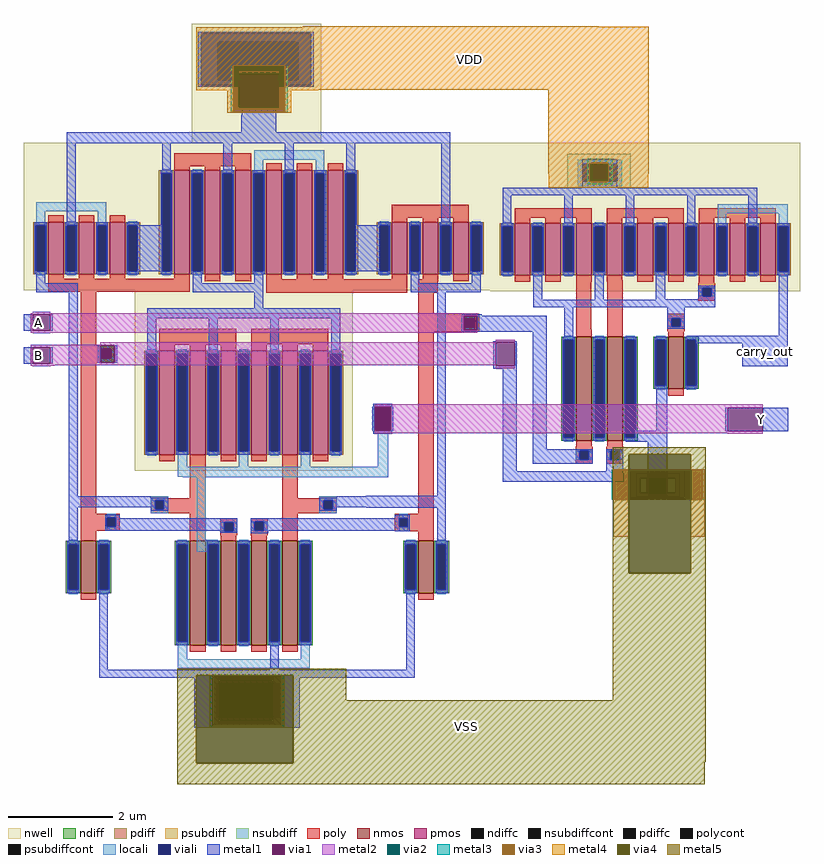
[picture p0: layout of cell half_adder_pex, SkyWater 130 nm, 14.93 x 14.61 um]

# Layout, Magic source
magic
tech sky130B
magscale 1 2
<< nwell >>
rect -1146 1370 -649 1827
rect -1792 1124 1192 1370
rect -1792 803 1193 1124
rect -1365 110 -527 803
rect 1 800 1193 803
<< nmos >>
rect 332 225 392 625
rect 450 225 510 625
rect 685 425 745 625
rect -1573 -360 -1513 -160
rect -1153 -560 -1093 -160
rect -1035 -560 -975 -160
rect -917 -560 -857 -160
rect -799 -560 -739 -160
rect -275 -360 -215 -160
<< pmos >>
rect -1698 865 -1638 1065
rect -1580 865 -1520 1065
rect -1462 865 -1402 1065
rect -1214 865 -1154 1265
rect -1096 865 -1036 1265
rect -978 865 -918 1265
rect -860 865 -800 1265
rect -742 865 -682 1265
rect -624 865 -564 1265
rect -377 865 -317 1065
rect -259 865 -199 1065
rect -141 865 -81 1065
rect 95 862 155 1062
rect 213 862 273 1062
rect 331 862 391 1062
rect 449 862 509 1062
rect 567 862 627 1062
rect 685 862 745 1062
rect 803 862 863 1062
rect 921 862 981 1062
rect 1039 862 1099 1062
rect -1271 172 -1211 572
rect -1153 172 -1093 572
rect -1035 172 -975 572
rect -917 172 -857 572
rect -799 172 -739 572
rect -681 172 -621 572
<< ndiff >>
rect 274 613 332 625
rect 274 237 286 613
rect 320 237 332 613
rect 274 225 332 237
rect 392 613 450 625
rect 392 237 404 613
rect 438 237 450 613
rect 392 225 450 237
rect 510 613 568 625
rect 510 237 522 613
rect 556 237 568 613
rect 627 613 685 625
rect 627 437 639 613
rect 673 437 685 613
rect 627 425 685 437
rect 745 613 803 625
rect 745 437 757 613
rect 791 437 803 613
rect 745 425 803 437
rect 510 225 568 237
rect -1631 -172 -1573 -160
rect -1631 -348 -1619 -172
rect -1585 -348 -1573 -172
rect -1631 -360 -1573 -348
rect -1513 -172 -1455 -160
rect -1513 -348 -1501 -172
rect -1467 -348 -1455 -172
rect -1513 -360 -1455 -348
rect -1211 -172 -1153 -160
rect -1211 -548 -1199 -172
rect -1165 -548 -1153 -172
rect -1211 -560 -1153 -548
rect -1093 -172 -1035 -160
rect -1093 -548 -1081 -172
rect -1047 -548 -1035 -172
rect -1093 -560 -1035 -548
rect -975 -172 -917 -160
rect -975 -548 -963 -172
rect -929 -548 -917 -172
rect -975 -560 -917 -548
rect -857 -172 -799 -160
rect -857 -548 -845 -172
rect -811 -548 -799 -172
rect -857 -560 -799 -548
rect -739 -172 -681 -160
rect -739 -548 -727 -172
rect -693 -548 -681 -172
rect -333 -172 -275 -160
rect -333 -348 -321 -172
rect -287 -348 -275 -172
rect -333 -360 -275 -348
rect -215 -172 -157 -160
rect -215 -348 -203 -172
rect -169 -348 -157 -172
rect -215 -360 -157 -348
rect -739 -560 -681 -548
<< pdiff >>
rect -1272 1253 -1214 1265
rect -1756 1053 -1698 1065
rect -1756 877 -1744 1053
rect -1710 877 -1698 1053
rect -1756 865 -1698 877
rect -1638 1053 -1580 1065
rect -1638 877 -1626 1053
rect -1592 877 -1580 1053
rect -1638 865 -1580 877
rect -1520 1053 -1462 1065
rect -1520 877 -1508 1053
rect -1474 877 -1462 1053
rect -1520 865 -1462 877
rect -1402 1053 -1344 1065
rect -1402 877 -1390 1053
rect -1356 877 -1344 1053
rect -1402 865 -1344 877
rect -1272 877 -1260 1253
rect -1226 877 -1214 1253
rect -1272 865 -1214 877
rect -1154 1253 -1096 1265
rect -1154 877 -1142 1253
rect -1108 877 -1096 1253
rect -1154 865 -1096 877
rect -1036 1253 -978 1265
rect -1036 877 -1024 1253
rect -990 877 -978 1253
rect -1036 865 -978 877
rect -918 1253 -860 1265
rect -918 877 -906 1253
rect -872 877 -860 1253
rect -918 865 -860 877
rect -800 1253 -742 1265
rect -800 877 -788 1253
rect -754 877 -742 1253
rect -800 865 -742 877
rect -682 1253 -624 1265
rect -682 877 -670 1253
rect -636 877 -624 1253
rect -682 865 -624 877
rect -564 1253 -506 1265
rect -564 877 -552 1253
rect -518 877 -506 1253
rect -564 865 -506 877
rect -435 1053 -377 1065
rect -435 877 -423 1053
rect -389 877 -377 1053
rect -435 865 -377 877
rect -317 1053 -259 1065
rect -317 877 -305 1053
rect -271 877 -259 1053
rect -317 865 -259 877
rect -199 1053 -141 1065
rect -199 877 -187 1053
rect -153 877 -141 1053
rect -199 865 -141 877
rect -81 1053 -23 1065
rect -81 877 -69 1053
rect -35 877 -23 1053
rect -81 865 -23 877
rect 37 1050 95 1062
rect 37 874 49 1050
rect 83 874 95 1050
rect 37 862 95 874
rect 155 1050 213 1062
rect 155 874 167 1050
rect 201 874 213 1050
rect 155 862 213 874
rect 273 1050 331 1062
rect 273 874 285 1050
rect 319 874 331 1050
rect 273 862 331 874
rect 391 1050 449 1062
rect 391 874 403 1050
rect 437 874 449 1050
rect 391 862 449 874
rect 509 1050 567 1062
rect 509 874 521 1050
rect 555 874 567 1050
rect 509 862 567 874
rect 627 1050 685 1062
rect 627 874 639 1050
rect 673 874 685 1050
rect 627 862 685 874
rect 745 1050 803 1062
rect 745 874 757 1050
rect 791 874 803 1050
rect 745 862 803 874
rect 863 1050 921 1062
rect 863 874 875 1050
rect 909 874 921 1050
rect 863 862 921 874
rect 981 1050 1039 1062
rect 981 874 993 1050
rect 1027 874 1039 1050
rect 981 862 1039 874
rect 1099 1050 1157 1062
rect 1099 874 1111 1050
rect 1145 874 1157 1050
rect 1099 862 1157 874
rect -1329 560 -1271 572
rect -1329 184 -1317 560
rect -1283 184 -1271 560
rect -1329 172 -1271 184
rect -1211 560 -1153 572
rect -1211 184 -1199 560
rect -1165 184 -1153 560
rect -1211 172 -1153 184
rect -1093 560 -1035 572
rect -1093 184 -1081 560
rect -1047 184 -1035 560
rect -1093 172 -1035 184
rect -975 560 -917 572
rect -975 184 -963 560
rect -929 184 -917 560
rect -975 172 -917 184
rect -857 560 -799 572
rect -857 184 -845 560
rect -811 184 -799 560
rect -857 172 -799 184
rect -739 560 -681 572
rect -739 184 -727 560
rect -693 184 -681 560
rect -739 172 -681 184
rect -621 560 -563 572
rect -621 184 -609 560
rect -575 184 -563 560
rect -621 172 -563 184
<< ndiffc >>
rect 286 237 320 613
rect 404 237 438 613
rect 522 237 556 613
rect 639 437 673 613
rect 757 437 791 613
rect -1619 -348 -1585 -172
rect -1501 -348 -1467 -172
rect -1199 -548 -1165 -172
rect -1081 -548 -1047 -172
rect -963 -548 -929 -172
rect -845 -548 -811 -172
rect -727 -548 -693 -172
rect -321 -348 -287 -172
rect -203 -348 -169 -172
<< pdiffc >>
rect -1744 877 -1710 1053
rect -1626 877 -1592 1053
rect -1508 877 -1474 1053
rect -1390 877 -1356 1053
rect -1260 877 -1226 1253
rect -1142 877 -1108 1253
rect -1024 877 -990 1253
rect -906 877 -872 1253
rect -788 877 -754 1253
rect -670 877 -636 1253
rect -552 877 -518 1253
rect -423 877 -389 1053
rect -305 877 -271 1053
rect -187 877 -153 1053
rect -69 877 -35 1053
rect 49 874 83 1050
rect 167 874 201 1050
rect 285 874 319 1050
rect 403 874 437 1050
rect 521 874 555 1050
rect 639 874 673 1050
rect 757 874 791 1050
rect 875 874 909 1050
rect 993 874 1027 1050
rect 1111 874 1145 1050
rect -1317 184 -1283 560
rect -1199 184 -1165 560
rect -1081 184 -1047 560
rect -963 184 -929 560
rect -845 184 -811 560
rect -727 184 -693 560
rect -609 184 -575 560
<< psubdiff >>
rect 538 82 750 112
rect 538 26 578 82
rect 712 26 750 82
rect 538 4 750 26
rect -1052 -719 -810 -707
rect -1052 -821 -1005 -719
rect -870 -821 -810 -719
rect -1052 -838 -810 -821
<< nsubdiff >>
rect -1110 1757 -689 1791
rect -1110 1612 -1047 1757
rect -738 1612 -689 1757
rect -1110 1591 -689 1612
rect 298 1290 542 1328
rect 298 1220 354 1290
rect 490 1220 542 1290
rect 298 1198 542 1220
<< psubdiffcont >>
rect 578 26 712 82
rect -1005 -821 -870 -719
<< nsubdiffcont >>
rect -1047 1612 -738 1757
rect 354 1220 490 1290
<< poly >>
rect -1214 1280 -918 1331
rect -1214 1265 -1154 1280
rect -1096 1265 -1036 1280
rect -978 1265 -918 1280
rect -860 1265 -800 1291
rect -742 1265 -682 1291
rect -624 1265 -564 1291
rect -1698 1065 -1638 1091
rect -1580 1065 -1520 1091
rect -1462 1065 -1402 1091
rect -377 1082 -81 1133
rect -377 1065 -317 1082
rect -259 1065 -199 1082
rect -141 1065 -81 1082
rect 95 1083 391 1119
rect 95 1062 155 1083
rect 213 1062 273 1083
rect 331 1062 391 1083
rect 449 1082 745 1118
rect 449 1062 509 1082
rect 567 1062 627 1082
rect 685 1062 745 1082
rect 803 1082 1099 1118
rect 803 1062 863 1082
rect 921 1062 981 1082
rect 1039 1062 1099 1082
rect -1698 848 -1638 865
rect -1580 848 -1520 865
rect -1462 848 -1402 865
rect -1214 848 -1154 865
rect -1698 797 -1154 848
rect -1096 839 -1036 865
rect -978 839 -918 865
rect -860 846 -800 865
rect -742 846 -682 865
rect -624 846 -564 865
rect -377 846 -317 865
rect -259 846 -199 865
rect -1573 593 -1513 797
rect -860 795 -317 846
rect -275 839 -199 846
rect -141 839 -81 865
rect -275 795 -200 839
rect 95 836 155 862
rect 213 836 273 862
rect 331 836 391 862
rect 449 842 509 862
rect 449 836 510 842
rect 567 836 627 862
rect 685 836 745 862
rect -275 713 -215 795
rect -275 695 -41 713
rect -275 661 -92 695
rect -58 661 -41 695
rect -1271 595 -975 655
rect -1573 576 -1442 593
rect -1573 542 -1492 576
rect -1458 542 -1442 576
rect -1271 572 -1211 595
rect -1153 572 -1093 595
rect -1035 572 -975 595
rect -917 596 -621 656
rect -917 572 -857 596
rect -799 572 -739 596
rect -681 572 -621 596
rect -275 645 -41 661
rect 332 651 390 836
rect -1573 525 -1442 542
rect -1573 -55 -1513 525
rect -1271 146 -1211 172
rect -1303 5 -1236 12
rect -1153 5 -1093 172
rect -1035 146 -975 172
rect -917 146 -857 172
rect -1303 -4 -1093 5
rect -1303 -38 -1287 -4
rect -1253 -38 -1093 -4
rect -1303 -54 -1093 -38
rect -1573 -71 -1422 -55
rect -1573 -105 -1472 -71
rect -1438 -105 -1422 -71
rect -1573 -121 -1422 -105
rect -1573 -160 -1513 -121
rect -1153 -160 -1093 -54
rect -799 5 -739 172
rect -681 146 -621 172
rect -656 5 -589 12
rect -799 -4 -589 5
rect -799 -38 -639 -4
rect -605 -38 -589 -4
rect -799 -54 -589 -38
rect -1037 -88 -971 -72
rect -1037 -122 -1021 -88
rect -987 -122 -971 -88
rect -1037 -138 -971 -122
rect -919 -87 -853 -72
rect -919 -121 -903 -87
rect -869 -121 -853 -87
rect -919 -137 -853 -121
rect -1035 -160 -975 -138
rect -917 -160 -857 -137
rect -799 -160 -739 -54
rect -275 -56 -215 645
rect 332 625 392 651
rect 450 625 510 836
rect 803 830 863 862
rect 921 836 981 862
rect 1039 836 1099 862
rect 800 814 866 830
rect 800 780 816 814
rect 850 780 866 814
rect 800 764 866 780
rect 682 697 748 713
rect 682 663 698 697
rect 732 663 748 697
rect 682 647 748 663
rect 685 625 745 647
rect 685 399 745 425
rect 332 203 392 225
rect 450 203 510 225
rect 329 187 395 203
rect 329 153 345 187
rect 379 153 395 187
rect 329 137 395 153
rect 447 187 513 203
rect 447 153 463 187
rect 497 153 513 187
rect 447 137 513 153
rect -365 -72 -215 -56
rect -365 -106 -349 -72
rect -315 -106 -215 -72
rect -365 -122 -215 -106
rect -275 -160 -215 -122
rect -1573 -386 -1513 -360
rect -275 -386 -215 -360
rect -1153 -586 -1093 -560
rect -1035 -586 -975 -560
rect -917 -586 -857 -560
rect -799 -586 -739 -560
<< polycont >>
rect -92 661 -58 695
rect -1492 542 -1458 576
rect -1287 -38 -1253 -4
rect -1472 -105 -1438 -71
rect -639 -38 -605 -4
rect -1021 -122 -987 -88
rect -903 -121 -869 -87
rect 816 780 850 814
rect 698 663 732 697
rect 345 153 379 187
rect 463 153 497 187
rect -349 -106 -315 -72
<< locali >>
rect -1121 1791 -677 1797
rect -1121 1591 -1110 1791
rect -689 1591 -677 1791
rect -1121 1585 -677 1591
rect -906 1306 -636 1341
rect -1260 1253 -1226 1269
rect -1744 1107 -1474 1142
rect -1744 1053 -1710 1107
rect -1744 861 -1710 877
rect -1626 1053 -1592 1069
rect -1626 861 -1592 877
rect -1508 1053 -1474 1107
rect -1508 861 -1474 877
rect -1390 1053 -1356 1069
rect -1390 861 -1356 877
rect -1260 861 -1226 877
rect -1142 1253 -1108 1269
rect -1142 861 -1108 877
rect -1024 1253 -990 1269
rect -1024 861 -990 877
rect -906 1253 -872 1306
rect -906 861 -872 877
rect -788 1253 -754 1269
rect -788 861 -754 877
rect -670 1253 -636 1306
rect 338 1290 506 1306
rect -670 861 -636 877
rect -552 1253 -518 1269
rect 338 1220 354 1290
rect 490 1220 506 1290
rect 338 1204 506 1220
rect 875 1100 1145 1134
rect -552 861 -518 877
rect -423 1053 -389 1069
rect -423 861 -389 877
rect -305 1053 -271 1069
rect -305 861 -271 877
rect -187 1053 -153 1069
rect -187 861 -153 877
rect -69 1053 -35 1069
rect -69 861 -35 877
rect 49 1050 83 1066
rect 49 858 83 874
rect 167 1050 201 1066
rect 167 858 201 874
rect 285 1050 319 1066
rect 285 858 319 874
rect 403 1050 437 1066
rect 403 858 437 874
rect 521 1050 555 1066
rect 521 858 555 874
rect 639 1050 673 1066
rect 639 858 673 874
rect 757 1050 791 1066
rect 757 858 791 874
rect 875 1050 909 1100
rect 875 858 909 874
rect 993 1050 1027 1066
rect 993 858 1027 874
rect 1111 1050 1145 1100
rect 1111 858 1145 874
rect 800 780 816 814
rect 850 780 866 814
rect -92 695 -58 711
rect 682 663 698 697
rect 732 663 748 697
rect -92 645 -58 661
rect 286 613 320 629
rect -1498 576 -1442 593
rect -1498 542 -1492 576
rect -1458 542 -1442 576
rect -1498 525 -1442 542
rect -1317 560 -1283 576
rect -1199 560 -1165 576
rect -1317 168 -1283 184
rect -1200 184 -1199 231
rect -1081 560 -1047 576
rect -1165 184 -1164 231
rect -1200 126 -1164 184
rect -963 560 -929 576
rect -1081 168 -1047 184
rect -965 184 -963 231
rect -965 126 -929 184
rect -845 560 -811 576
rect -845 168 -811 184
rect -727 560 -693 576
rect -609 560 -575 576
rect -693 184 -691 230
rect -727 126 -691 184
rect -447 355 -377 359
rect -447 264 -443 355
rect -381 264 -377 355
rect -447 259 -377 264
rect -609 168 -575 184
rect -432 126 -391 259
rect 286 221 320 237
rect 404 613 438 629
rect 404 221 438 237
rect 522 613 556 629
rect 639 613 673 629
rect 639 421 673 437
rect 757 613 791 629
rect 757 421 791 437
rect 522 221 556 237
rect 329 153 345 187
rect 379 153 395 187
rect 447 153 463 187
rect 497 153 513 187
rect -1200 86 -391 126
rect -1181 85 -391 86
rect -1303 -4 -1236 12
rect -1303 -38 -1287 -4
rect -1253 -38 -1236 -4
rect -1303 -54 -1236 -38
rect -1472 -71 -1438 -55
rect -1472 -121 -1438 -105
rect -1126 -156 -1092 85
rect 562 82 730 100
rect 562 26 578 82
rect 712 26 730 82
rect -656 -4 -589 12
rect 562 10 730 26
rect -656 -38 -639 -4
rect -605 -38 -589 -4
rect -656 -54 -589 -38
rect -349 -72 -315 -56
rect -1037 -122 -1021 -88
rect -987 -122 -971 -88
rect -919 -121 -903 -87
rect -869 -121 -853 -87
rect -349 -122 -315 -106
rect -1619 -172 -1585 -156
rect -1619 -364 -1585 -348
rect -1501 -172 -1467 -156
rect -1501 -364 -1467 -348
rect -1199 -172 -1165 -156
rect -1126 -172 -1047 -156
rect -1126 -202 -1081 -172
rect -1199 -615 -1164 -548
rect -1081 -564 -1047 -548
rect -963 -172 -929 -156
rect -963 -564 -929 -548
rect -845 -172 -811 -156
rect -727 -172 -693 -156
rect -321 -172 -287 -156
rect -321 -364 -287 -348
rect -203 -172 -169 -156
rect -203 -364 -169 -348
rect -845 -564 -811 -548
rect -728 -615 -693 -548
rect -1199 -650 -693 -615
rect -1052 -719 -810 -707
rect -1052 -821 -1005 -719
rect -870 -821 -810 -719
rect -1052 -838 -810 -821
<< viali >>
rect -1110 1757 -689 1791
rect -1110 1612 -1047 1757
rect -1047 1612 -738 1757
rect -738 1612 -689 1757
rect -1110 1591 -689 1612
rect -1744 877 -1710 1053
rect -1626 877 -1592 1053
rect -1508 877 -1474 1053
rect -1390 877 -1356 1053
rect -1260 877 -1226 1253
rect -1142 877 -1108 1253
rect -1024 877 -990 1253
rect -906 877 -872 1253
rect -788 877 -754 1253
rect -670 877 -636 1253
rect -552 877 -518 1253
rect 390 1226 450 1288
rect -423 877 -389 1053
rect -305 877 -271 1053
rect -187 877 -153 1053
rect -69 877 -35 1053
rect 49 874 83 1050
rect 167 874 201 1050
rect 285 874 319 1050
rect 403 874 437 1050
rect 521 874 555 1050
rect 639 874 673 1050
rect 757 874 791 1050
rect 875 874 909 1050
rect 993 874 1027 1050
rect 1111 874 1145 1050
rect 816 780 850 814
rect -92 661 -58 695
rect 698 663 732 697
rect -1492 542 -1458 576
rect -1317 184 -1283 560
rect -1199 184 -1165 560
rect -1081 184 -1047 560
rect -963 184 -929 560
rect -845 184 -811 560
rect -727 184 -693 560
rect -609 184 -575 560
rect -443 264 -381 355
rect 286 237 320 613
rect 404 237 438 613
rect 522 237 556 613
rect 639 437 673 613
rect 757 437 791 613
rect 345 153 379 187
rect 463 153 497 187
rect -1287 -38 -1253 -4
rect -1472 -105 -1438 -71
rect 618 30 670 76
rect -639 -38 -605 -4
rect -1021 -122 -987 -88
rect -903 -121 -869 -87
rect -349 -106 -315 -72
rect -1619 -348 -1585 -172
rect -1501 -348 -1467 -172
rect -1199 -548 -1165 -172
rect -1081 -548 -1047 -172
rect -963 -548 -929 -172
rect -845 -548 -811 -172
rect -727 -548 -693 -172
rect -321 -348 -287 -172
rect -203 -348 -169 -172
rect -1005 -821 -870 -719
<< metal1 >>
rect -1122 1791 -677 1797
rect -1122 1591 -1110 1791
rect -689 1591 -677 1791
rect -1122 1585 -954 1591
rect -964 1517 -954 1585
rect -822 1585 -677 1591
rect -822 1517 -812 1585
rect -954 1477 -822 1517
rect -955 1411 -822 1477
rect -1626 1368 -153 1411
rect -1626 1065 -1592 1368
rect -1260 1265 -1226 1368
rect -1024 1265 -990 1368
rect -788 1265 -754 1368
rect -552 1265 -518 1368
rect -1266 1253 -1220 1265
rect -1750 1053 -1704 1065
rect -1750 877 -1744 1053
rect -1710 877 -1704 1053
rect -1750 865 -1704 877
rect -1632 1053 -1586 1065
rect -1632 877 -1626 1053
rect -1592 877 -1586 1053
rect -1632 865 -1586 877
rect -1514 1053 -1468 1065
rect -1514 877 -1508 1053
rect -1474 877 -1468 1053
rect -1514 865 -1468 877
rect -1396 1053 -1350 1065
rect -1266 1053 -1260 1253
rect -1396 877 -1390 1053
rect -1356 877 -1260 1053
rect -1226 877 -1220 1253
rect -1396 865 -1350 877
rect -1266 865 -1220 877
rect -1148 1253 -1102 1265
rect -1148 877 -1142 1253
rect -1108 877 -1102 1253
rect -1148 865 -1102 877
rect -1030 1253 -984 1265
rect -1030 877 -1024 1253
rect -990 877 -984 1253
rect -1030 865 -984 877
rect -912 1253 -866 1265
rect -912 877 -906 1253
rect -872 877 -866 1253
rect -912 865 -866 877
rect -794 1253 -748 1265
rect -794 877 -788 1253
rect -754 877 -748 1253
rect -794 865 -748 877
rect -676 1253 -630 1265
rect -676 877 -670 1253
rect -636 877 -630 1253
rect -676 865 -630 877
rect -558 1253 -512 1265
rect -558 877 -552 1253
rect -518 1053 -512 1253
rect -187 1065 -153 1368
rect 354 1288 490 1308
rect 354 1226 390 1288
rect 450 1226 490 1288
rect 354 1198 490 1226
rect 50 1168 1027 1198
rect -429 1053 -383 1065
rect -518 877 -423 1053
rect -389 877 -383 1053
rect -558 865 -512 877
rect -429 865 -383 877
rect -311 1053 -265 1065
rect -311 877 -305 1053
rect -271 877 -265 1053
rect -311 865 -265 877
rect -193 1053 -147 1065
rect -193 877 -187 1053
rect -153 877 -147 1053
rect -193 865 -147 877
rect -75 1053 -29 1065
rect 50 1062 82 1168
rect 286 1062 318 1168
rect 522 1062 554 1168
rect 758 1062 790 1168
rect 993 1062 1027 1168
rect -75 877 -69 1053
rect -35 877 -29 1053
rect -75 865 -29 877
rect 43 1050 89 1062
rect 43 874 49 1050
rect 83 874 89 1050
rect -1744 831 -1710 865
rect -1142 831 -1108 865
rect -906 831 -872 865
rect -1744 796 -1585 831
rect -1142 796 -872 831
rect -305 831 -271 865
rect -69 831 -35 865
rect 43 862 89 874
rect 161 1050 207 1062
rect 161 874 167 1050
rect 201 874 207 1050
rect 161 862 207 874
rect 279 1050 325 1062
rect 279 874 285 1050
rect 319 874 325 1050
rect 279 862 325 874
rect 397 1050 443 1062
rect 397 874 403 1050
rect 437 874 443 1050
rect 397 862 443 874
rect 515 1050 561 1062
rect 515 874 521 1050
rect 555 874 561 1050
rect 515 862 561 874
rect 633 1050 679 1062
rect 633 874 639 1050
rect 673 874 679 1050
rect 633 862 679 874
rect 751 1050 797 1062
rect 751 874 757 1050
rect 791 874 797 1050
rect 751 862 797 874
rect 869 1050 915 1062
rect 869 874 875 1050
rect 909 874 915 1050
rect 869 862 915 874
rect 987 1050 1033 1062
rect 987 874 993 1050
rect 1027 874 1033 1050
rect 987 862 1033 874
rect 1105 1050 1151 1062
rect 1105 874 1111 1050
rect 1145 874 1151 1050
rect 1105 862 1151 874
rect -305 796 -35 831
rect -1792 648 -1757 711
rect -1690 648 -1680 711
rect -1792 522 -1757 585
rect -1690 522 -1680 585
rect -1619 12 -1585 796
rect -906 734 -872 796
rect -1317 696 -575 734
rect -1507 525 -1497 593
rect -1442 525 -1432 593
rect -1317 572 -1283 696
rect -1081 572 -1047 696
rect -845 572 -811 696
rect -609 572 -575 696
rect -1323 560 -1277 572
rect -1323 184 -1317 560
rect -1283 184 -1277 560
rect -1323 172 -1277 184
rect -1205 560 -1159 572
rect -1205 184 -1199 560
rect -1165 184 -1159 560
rect -1205 172 -1159 184
rect -1087 560 -1041 572
rect -1087 184 -1081 560
rect -1047 184 -1041 560
rect -1087 172 -1041 184
rect -969 560 -923 572
rect -969 184 -963 560
rect -929 184 -923 560
rect -969 172 -923 184
rect -851 560 -805 572
rect -851 184 -845 560
rect -811 184 -805 560
rect -851 172 -805 184
rect -733 560 -687 572
rect -733 184 -727 560
rect -693 184 -687 560
rect -733 172 -687 184
rect -615 560 -569 572
rect -615 184 -609 560
rect -575 184 -569 560
rect -449 355 -375 367
rect -453 264 -443 355
rect -381 264 -371 355
rect -449 252 -375 264
rect -615 172 -569 184
rect -203 13 -169 796
rect 166 768 202 862
rect 402 768 438 862
rect 638 769 674 862
rect 800 814 866 821
rect 800 780 816 814
rect 850 780 866 814
rect 800 769 866 780
rect 638 768 866 769
rect 166 739 866 768
rect 166 738 748 739
rect -108 706 -32 711
rect -111 650 -101 706
rect -48 705 -32 706
rect -48 650 218 705
rect -108 645 218 650
rect 13 603 104 608
rect 13 514 23 603
rect 96 514 104 603
rect 13 502 104 514
rect 50 108 104 502
rect 164 193 218 645
rect 286 625 320 738
rect 682 697 748 738
rect 682 663 698 697
rect 732 663 748 697
rect 682 656 748 663
rect 1110 629 1145 862
rect 756 625 1145 629
rect 280 613 326 625
rect 280 237 286 613
rect 320 237 326 613
rect 280 225 326 237
rect 398 613 444 625
rect 398 237 404 613
rect 438 237 444 613
rect 398 225 444 237
rect 516 613 562 625
rect 516 237 522 613
rect 556 264 562 613
rect 633 613 679 625
rect 633 437 639 613
rect 673 437 679 613
rect 633 430 679 437
rect 751 613 1145 625
rect 751 437 757 613
rect 791 600 1145 613
rect 791 437 797 600
rect 970 511 1145 600
rect 633 425 682 430
rect 751 425 797 437
rect 639 264 682 425
rect 556 237 682 264
rect 905 262 915 353
rect 1048 262 1146 353
rect 516 225 682 237
rect 522 221 682 225
rect 164 187 395 193
rect 164 153 345 187
rect 379 153 395 187
rect 164 137 395 153
rect 447 187 513 193
rect 447 153 463 187
rect 497 153 513 187
rect 447 108 513 153
rect 50 100 513 108
rect 50 68 514 100
rect 606 84 682 221
rect 602 24 612 84
rect 674 24 684 84
rect -476 12 -169 13
rect -1619 7 -1303 12
rect -589 7 -169 12
rect -1619 -4 -1236 7
rect -1619 -31 -1287 -4
rect -1619 -160 -1585 -31
rect -1303 -38 -1287 -31
rect -1253 -38 -1236 -4
rect -1303 -44 -1236 -38
rect -656 -4 -169 7
rect 610 -2 680 24
rect -656 -38 -639 -4
rect -605 -31 -169 -4
rect -605 -38 -589 -31
rect -476 -32 -169 -31
rect -656 -44 -589 -38
rect -1478 -71 -1422 -59
rect -1478 -105 -1472 -71
rect -1438 -72 -1422 -71
rect -365 -72 -309 -60
rect -1438 -88 -971 -72
rect -1438 -105 -1021 -88
rect -1478 -121 -1021 -105
rect -1037 -122 -1021 -121
rect -987 -122 -971 -88
rect -1037 -129 -971 -122
rect -919 -87 -349 -72
rect -919 -121 -903 -87
rect -869 -106 -349 -87
rect -315 -106 -309 -72
rect -869 -121 -309 -106
rect -919 -131 -852 -121
rect -365 -122 -309 -121
rect -203 -160 -169 -32
rect -1625 -172 -1579 -160
rect -1625 -348 -1619 -172
rect -1585 -348 -1579 -172
rect -1625 -360 -1579 -348
rect -1507 -172 -1461 -160
rect -1507 -348 -1501 -172
rect -1467 -348 -1461 -172
rect -1507 -360 -1461 -348
rect -1205 -172 -1159 -160
rect -1502 -654 -1468 -360
rect -1205 -548 -1199 -172
rect -1165 -548 -1159 -172
rect -1205 -560 -1159 -548
rect -1087 -172 -1041 -160
rect -1087 -548 -1081 -172
rect -1047 -548 -1041 -172
rect -1087 -560 -1041 -548
rect -969 -172 -923 -160
rect -969 -548 -963 -172
rect -929 -548 -923 -172
rect -969 -560 -923 -548
rect -851 -172 -805 -160
rect -851 -548 -845 -172
rect -811 -548 -805 -172
rect -851 -560 -805 -548
rect -733 -172 -687 -160
rect -733 -548 -727 -172
rect -693 -548 -687 -172
rect -327 -172 -281 -160
rect -327 -348 -321 -172
rect -287 -348 -281 -172
rect -327 -360 -281 -348
rect -209 -172 -163 -160
rect -209 -348 -203 -172
rect -169 -348 -163 -172
rect -209 -360 -163 -348
rect -733 -560 -687 -548
rect -845 -654 -811 -560
rect -321 -654 -288 -360
rect -1502 -686 -288 -654
rect -1136 -710 -730 -686
rect -1136 -833 -1024 -710
rect -850 -833 -730 -710
rect -1136 -877 -730 -833
<< via1 >>
rect -954 1591 -822 1625
rect -954 1517 -822 1591
rect 390 1226 450 1288
rect -1757 648 -1690 711
rect -1757 522 -1690 585
rect -1497 576 -1442 593
rect -1497 542 -1492 576
rect -1492 542 -1458 576
rect -1458 542 -1442 576
rect -1497 525 -1442 542
rect -443 264 -381 355
rect -101 695 -48 706
rect -101 661 -92 695
rect -92 661 -58 695
rect -58 661 -48 695
rect -101 650 -48 661
rect 23 514 96 603
rect 915 262 1048 353
rect 612 76 674 84
rect 612 30 618 76
rect 618 30 670 76
rect 670 30 674 76
rect 612 24 674 30
rect -1024 -719 -850 -710
rect -1024 -821 -1005 -719
rect -1005 -821 -870 -719
rect -870 -821 -850 -719
rect -1024 -833 -850 -821
<< metal2 >>
rect -965 1636 -812 1646
rect -965 1497 -812 1507
rect 390 1288 450 1298
rect 390 1216 450 1226
rect -1757 716 -1690 721
rect -1764 711 -48 716
rect -1764 648 -1757 711
rect -1690 706 -48 711
rect -1690 650 -101 706
rect -1690 648 -48 650
rect -1764 640 -48 648
rect -1757 638 -1690 640
rect 23 603 96 613
rect -1757 594 -1690 595
rect -1497 594 23 603
rect -1765 593 23 594
rect -1765 585 -1497 593
rect -1765 522 -1757 585
rect -1690 525 -1497 585
rect -1442 525 23 593
rect -1690 522 23 525
rect -1765 515 23 522
rect -1764 514 -1675 515
rect -1757 512 -1690 514
rect 23 504 96 514
rect -443 355 1048 365
rect -381 353 1048 355
rect -381 264 915 353
rect -443 262 915 264
rect -443 254 1048 262
rect 915 252 1048 254
rect 612 92 674 94
rect 612 84 676 92
rect 674 82 676 84
rect 612 10 676 20
rect -1043 -694 -832 -684
rect -1043 -861 -832 -851
<< via2 >>
rect -965 1625 -812 1636
rect -965 1517 -954 1625
rect -954 1517 -822 1625
rect -822 1517 -812 1625
rect -965 1507 -812 1517
rect 390 1226 450 1288
rect 612 24 674 82
rect 674 24 676 82
rect 612 20 676 24
rect -1043 -710 -832 -694
rect -1043 -833 -1024 -710
rect -1024 -833 -850 -710
rect -850 -833 -832 -710
rect -1043 -851 -832 -833
<< metal3 >>
rect -997 1488 -987 1667
rect -788 1488 -778 1667
rect 374 1292 472 1310
rect 374 1220 384 1292
rect 454 1220 472 1292
rect 374 1212 472 1220
rect 469 -2 479 114
rect 817 -2 827 114
rect -1076 -873 -1066 -678
rect -800 -873 -790 -678
<< via3 >>
rect -987 1636 -788 1667
rect -987 1507 -965 1636
rect -965 1507 -812 1636
rect -812 1507 -788 1636
rect -987 1488 -788 1507
rect 384 1288 454 1292
rect 384 1226 390 1288
rect 390 1226 450 1288
rect 450 1226 454 1288
rect 384 1220 454 1226
rect 479 82 817 114
rect 479 20 612 82
rect 612 20 676 82
rect 676 20 817 82
rect 479 -2 817 20
rect -1066 -694 -800 -678
rect -1066 -851 -1043 -694
rect -1043 -851 -832 -694
rect -832 -851 -800 -694
rect -1066 -873 -800 -851
<< metal4 >>
rect -720 1816 418 1818
rect -720 1815 610 1816
rect -1129 1667 610 1815
rect -1129 1573 -987 1667
rect -1009 1488 -987 1573
rect -788 1574 610 1667
rect -788 1573 -660 1574
rect -788 1488 -764 1573
rect -1009 1485 -764 1488
rect 224 1292 610 1574
rect 224 1251 384 1292
rect 226 1220 384 1251
rect 454 1251 610 1292
rect 454 1220 608 1251
rect 226 1198 608 1220
rect 478 115 534 116
rect 474 114 534 115
rect 771 115 810 116
rect 771 114 825 115
rect 474 -2 479 114
rect 817 -2 825 114
rect 474 -143 534 -2
rect 771 -143 825 -2
<< via4 >>
rect 534 114 771 173
rect 534 -2 771 114
rect 534 -284 771 -2
rect -1129 -678 -756 -676
rect -1129 -873 -1066 -678
rect -1066 -873 -800 -678
rect -800 -873 -756 -678
rect -1129 -1015 -756 -873
<< metal5 >>
rect 472 173 829 200
rect 472 -284 534 173
rect 771 -284 829 173
rect -1201 -676 -553 -652
rect -1201 -773 -1129 -676
rect -1202 -1015 -1129 -773
rect -756 -773 -553 -676
rect 472 -773 829 -284
rect -756 -1008 829 -773
rect -756 -1015 826 -1008
rect -1202 -1094 826 -1015
<< labels >>
flabel metal1 -1785 655 -1685 704 1 FreeSans 400 0 0 0 A
port 3 n
flabel metal1 -1785 529 -1685 578 1 FreeSans 400 0 0 0 B
port 4 n
flabel metal5 -399 -936 220 -810 1 FreeSans 1040 0 0 0 VSS
port 7 n
flabel metal1 993 268 1097 346 1 FreeSans 400 0 0 0 Y
port 6 n
flabel metal1 980 519 1135 615 1 FreeSans 400 0 0 0 carry_out
port 5 n
flabel metal4 -381 1609 222 1769 1 FreeSans 1040 0 0 0 VDD
port 1 n
<< end >>
